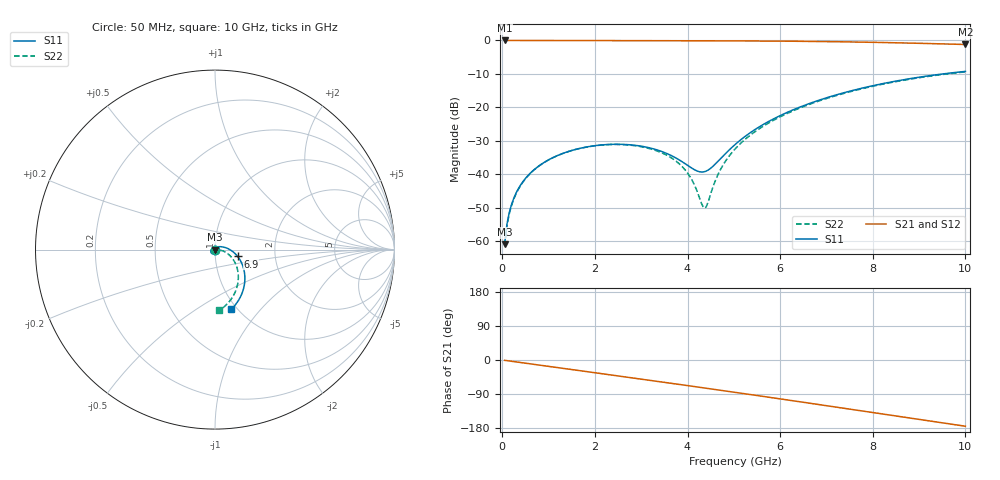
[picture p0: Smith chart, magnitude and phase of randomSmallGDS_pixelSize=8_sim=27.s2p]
! freq	dB(S11)	phase(S11)	dB(S12)	phase(S12)
!  dB(S21)	phase(S21)	dB(S22)	phase(S22)
!S-par simulation data
#  GHz  S  DB  R 50
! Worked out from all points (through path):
!   200 points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, 50 MHz to 10 GHz, reference 50 ohm
!   highest |S21| = 0.00 dB at 50 MHz (marker M1); lowest = -1.2 dB at 10 GHz (marker M2)
!   group delay of S21, straight-line fit = 48.6 ps
!   lowest |S11| = -61.0 dB at 50 MHz (marker M3), VSWR 1.00, Z = 50 - j0.0895 ohm
!   |S11| at or under -10 dB: start of sweep to 9.515 GHz
!   |S22| runs from -61.5 to -9.4 dB; largest |S21 - S12| = 0
!   S11 on the Smith chart (normalised r, x): 50 MHz: 1.00, -0.00; 6.9 GHz: 1.29, -0.10; 10 GHz: 0.94, -0.71
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0.05  -60.96 -89.3  -0.00 -0.8  -0.00 -0.8  -61.47 -89.5
0.1  -54.96 -91.4  -0.00 -1.7  -0.00 -1.7  -55.40 -91.7
0.2  -48.99 -94.0  -0.00 -3.4  -0.00 -3.4  -49.29 -94.1
0.35  -44.23 -97.2  -0.00 -5.9  -0.00 -5.9  -44.39 -96.6
0.5  -41.23 -100.1  -0.01 -8.4  -0.01 -8.4  -41.33 -99.0
1  -35.67 -109.7  -0.02 -16.8  -0.02 -16.8  -35.70 -107.2
1.75  -32.02 -124.4  -0.03 -29.4  -0.03 -29.4  -32.04 -119.3
2.65  -31.08 -143.7  -0.05 -44.5  -0.05 -44.5  -31.16 -133.3
3.4  -32.97 -165.1  -0.07 -57.3  -0.07 -57.3  -33.33 -143.3
3.7  -34.75 -178.4  -0.07 -62.4  -0.07 -62.4  -35.54 -145.7
3.95  -36.84 164.4  -0.08 -66.7  -0.08 -66.7  -38.72 -145.1
4.15  -38.63 141.9  -0.09 -70.1  -0.09 -70.1  -43.19 -137.6
4.35  -39.27 109.3  -0.09 -73.6  -0.09 -73.6  -50.05 -87.1
4.4  -39.06 100.5  -0.10 -74.4  -0.10 -74.4  -49.82 -61.2
4.7  -35.51 59.0  -0.11 -79.6  -0.11 -79.6  -38.87 -7.8
5.05  -30.83 34.5  -0.13 -85.7  -0.13 -85.7  -32.09 -5.3
5.75  -24.22 9.6  -0.18 -98.1  -0.18 -98.1  -24.67 -13.4
6.7  -18.51 -12.7  -0.29 -115.1  -0.29 -115.1  -18.75 -28.6
6.9  -17.58 -16.9  -0.32 -118.8  -0.32 -118.8  -17.80 -32.0
8.35  -12.53 -45.2  -0.65 -145.1  -0.65 -145.1  -12.69 -57.2
9.15  -10.68 -59.9  -0.90 -159.6  -0.90 -159.6  -10.82 -71.2
10  -9.25 -74.9  -1.20 -174.8  -1.20 -174.8  -9.39 -85.9
